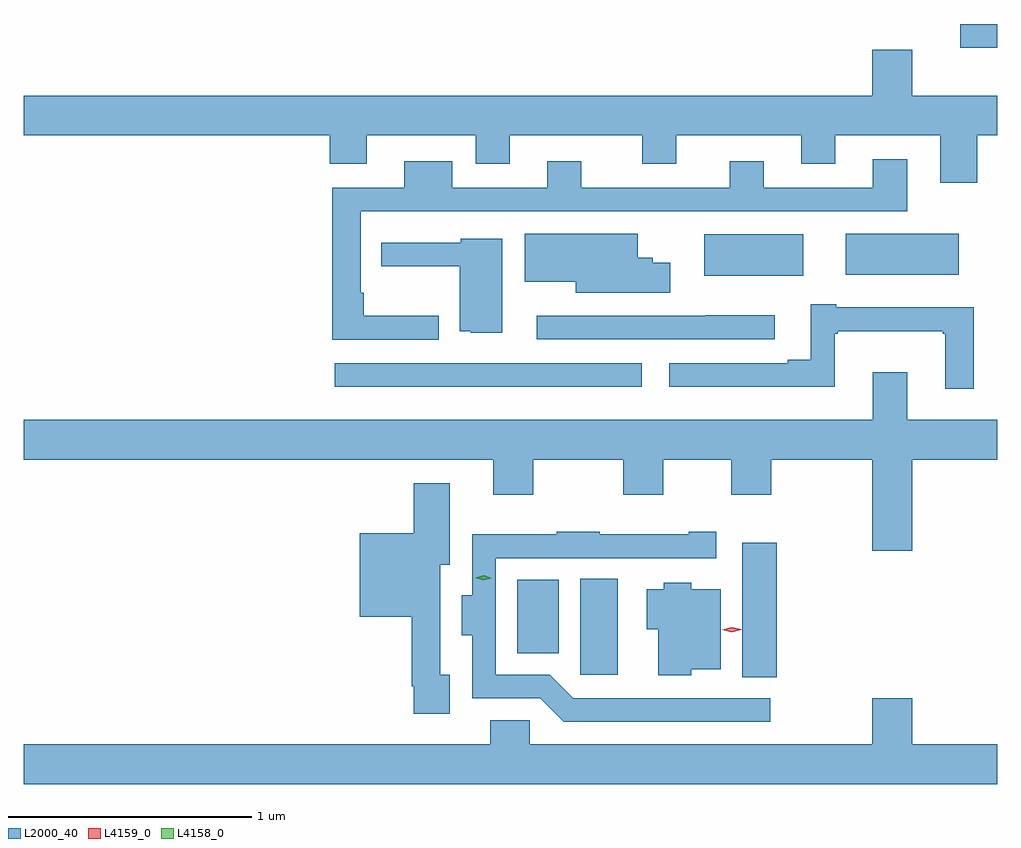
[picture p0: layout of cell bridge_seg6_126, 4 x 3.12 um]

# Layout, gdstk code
import gdstk
lib = gdstk.Library(unit=1e-6, precision=1e-09)
def R(c, l, rs):  # rectangles x0, y0, x1, y1
    for r in rs: c.add(gdstk.rectangle(r[:2], r[2:], *l))
def P(c, l, *ps):  # polygons
    for p in ps: c.add(gdstk.Polygon(p, *l))
L2000_40 = (2000, 40)
L4158_0 = (4158, 0)
L4159_0 = (4159, 0)

bridge_seg6_126 = lib.new_cell('bridge_seg6_126')
R(bridge_seg6_126, L2000_40, [(440.198,929.127,440.339,929.68), (439.532,929.136,439.687,929.531), (439.274,929.225,439.444,929.527), (438.525,930.32,439.786,930.417), (440.042,930.776,440.449,930.946), (440.624,930.779,441.088,930.949), (441.093,931.712,441.246,931.81)])
P(bridge_seg6_126, L2000_40, [(441.164,931.352),(441.246,931.352),(441.246,931.516),(440.896,931.516),(440.896,931.705),(440.732,931.705),(440.732,931.516),(437.246,931.516),(437.246,931.352),(438.503,931.352),(438.503,931.235),(438.655,931.235),(438.655,931.352),(439.103,931.352),(439.103,931.235),(439.243,931.235),(439.243,931.352),(439.787,931.352),(439.787,931.235),(439.927,931.235),(439.927,931.352),(440.441,931.352),(440.441,931.235),(440.581,931.235),(440.581,931.352),(441.011,931.352),(441.011,931.158),(441.164,931.158)],
  [(438.952,930.611),(438.643,930.611),(438.643,930.706),(438.63,930.706),(438.63,931.041),(440.875,931.041),(440.875,931.255),(440.735,931.255),(440.735,931.137),(440.287,931.137),(440.287,931.246),(440.147,931.246),(440.147,931.137),(439.537,931.137),(439.537,931.246),(439.397,931.246),(439.397,931.137),(439.006,931.137),(439.006,931.246),(438.809,931.246),(438.809,931.137),(438.514,931.137),(438.514,930.513),(438.952,930.513)],
  [(439.903,930.829),(439.83,930.829),(439.83,930.85),(439.768,930.85),(439.768,930.949),(439.304,930.949),(439.304,930.752),(439.514,930.752),(439.514,930.707),(439.903,930.707)],
  [(439.213,930.928),(439.041,930.928),(439.041,930.912),(438.715,930.912),(438.715,930.815),(439.037,930.815),(439.037,930.548),(439.083,930.548),(439.083,930.542),(439.213,930.542)],
  [(441.149,930.646),(440.584,930.646),(440.584,930.658),(440.48,930.658),(440.48,930.43),(440.384,930.43),(440.384,930.417),(439.899,930.417),(439.899,930.32),(440.578,930.32),(440.578,930.537),(440.59,930.537),(440.59,930.548),(441.021,930.548),(441.021,930.537),(441.032,930.537),(441.032,930.312),(441.149,930.312)],
  [(440.332,930.613),(440.046,930.613),(440.046,930.612),(439.353,930.612),(439.353,930.516),(440.332,930.516)],
  [(440.896,930.02),(441.246,930.02),(441.246,930.184),(440.875,930.184),(440.875,930.379),(440.735,930.379),(440.735,930.184),(437.246,930.184),(437.246,930.02),(439.175,930.02),(439.175,929.877),(439.339,929.877),(439.339,930.02),(439.709,930.02),(439.709,929.877),(439.873,929.877),(439.873,930.02),(440.153,930.02),(440.153,929.877),(440.317,929.877),(440.317,930.02),(440.732,930.02),(440.732,929.646),(440.896,929.646)],
  [(438.997,929.137),(438.957,929.137),(438.957,929.588),(438.997,929.588),(438.997,929.923),(438.848,929.923),(438.848,929.719),(438.626,929.719),(438.626,929.375),(438.841,929.375),(438.841,929.089),(438.849,929.089),(438.849,928.977),(438.997,928.977)],
  [(440.314,929.04),(439.503,929.04),(439.407,929.136),(439.185,929.136),(439.185,929.616),(440.092,929.616),(440.092,929.725),(439.979,929.725),(439.979,929.713),(439.613,929.713),(439.613,929.725),(439.435,929.725),(439.435,929.713),(439.089,929.713),(439.089,929.464),(439.046,929.464),(439.046,929.3),(439.088,929.3),(439.088,929.04),(439.368,929.04),(439.464,928.944),(440.314,928.944)],
  [(439.989,929.159),(440.11,929.159),(440.11,929.488),(439.989,929.488),(439.989,929.515),(439.875,929.515),(439.875,929.488),(439.805,929.488),(439.805,929.324),(439.853,929.324),(439.853,929.135),(439.989,929.135)],
  [(441.246,928.852),(440.896,928.852),(440.896,929.041),(440.732,929.041),(440.732,928.852),(439.326,928.852),(439.326,928.95),(439.163,928.95),(439.163,928.852),(437.246,928.852),(437.246,928.688),(441.246,928.688)])
P(bridge_seg6_126, L4158_0, [(439.135,929.525),(439.101,929.535),(439.101,929.535),(439.101,929.536),(439.136,929.545),(439.17,929.534),(439.17,929.534),(439.17,929.534)])
P(bridge_seg6_126, L4159_0, [(440.155,929.312),(440.116,929.321),(440.116,929.321),(440.116,929.321),(440.154,929.332),(440.193,929.323),(440.193,929.322),(440.193,929.322)])

lib.write_gds('bridge_seg6_126.gds')
